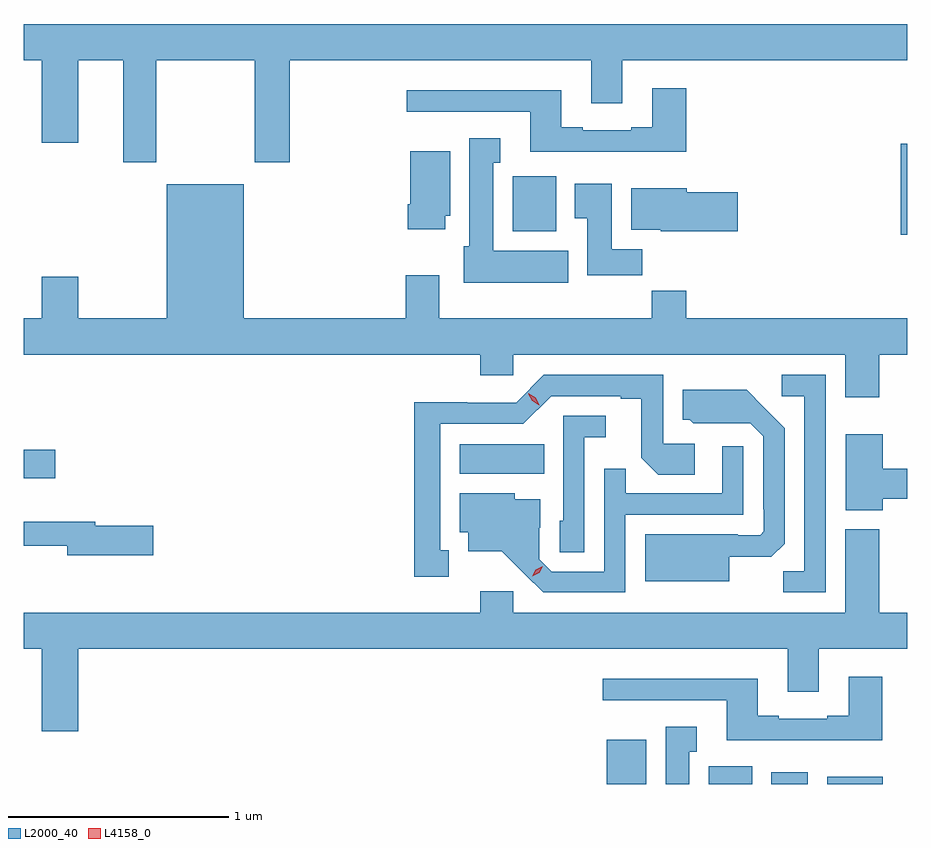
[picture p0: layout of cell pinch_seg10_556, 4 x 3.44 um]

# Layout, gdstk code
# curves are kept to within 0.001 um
import gdstk
lib = gdstk.Library(unit=1e-6, precision=1e-09)
def R(c, l, rs):  # rectangles x0, y0, x1, y1
    for r in rs: c.add(gdstk.rectangle(r[:2], r[2:], *l))
def P(c, l, *ps):  # polygons
    for p in ps: c.add(gdstk.Polygon(p, *l))
L2000_40 = (2000, 40)
L4158_0 = (4158, 0)

pinch_seg10_556 = lib.new_cell('pinch_seg10_556')
R(pinch_seg10_556, L2000_40, [(323.408,1281.056,323.587,1281.256), (323.87,1281.056,324.067,1281.136), (324.152,1281.056,324.319,1281.109), (324.407,1281.056,324.658,1281.088), (320.769,1282.439,320.911,1282.569), (322.742,1282.46,323.126,1282.594), (324.74,1283.543,324.769,1283.953), (322.983,1283.558,323.179,1283.808)])
P(pinch_seg10_556, L2000_40, [(321.369,1284.332),(321.814,1284.332),(321.814,1283.871),(321.974,1283.871),(321.974,1284.332),(323.339,1284.332),(323.339,1284.138),(323.479,1284.138),(323.479,1284.332),(324.769,1284.332),(324.769,1284.496),(320.769,1284.496),(320.769,1284.332),(320.852,1284.332),(320.852,1283.958),(321.016,1283.958),(321.016,1284.332),(321.221,1284.332),(321.221,1283.871),(321.369,1283.871)],
  [(323.768,1284.205),(323.615,1284.205),(323.615,1284.028),(323.519,1284.028),(323.519,1284.015),(323.299,1284.015),(323.299,1284.028),(323.203,1284.028),(323.203,1284.196),(322.503,1284.196),(322.503,1284.099),(323.063,1284.099),(323.063,1283.918),(323.768,1283.918)],
  [(323.233,1283.47),(322.894,1283.47),(322.894,1283.867),(322.927,1283.867),(322.927,1283.98),(322.787,1283.98),(322.787,1283.49),(322.76,1283.49),(322.76,1283.324),(323.233,1283.324)],
  [(322.678,1283.628),(322.699,1283.628),(322.699,1283.92),(322.52,1283.92),(322.52,1283.68),(322.508,1283.68),(322.508,1283.568),(322.678,1283.568)],
  [(323.57,1283.476),(323.431,1283.476),(323.431,1283.773),(323.264,1283.773),(323.264,1283.617),(323.321,1283.617),(323.321,1283.358),(323.57,1283.358)],
  [(324.641,1283),(324.769,1283),(324.769,1283.164),(323.768,1283.164),(323.768,1283.288),(323.611,1283.288),(323.611,1283.164),(322.651,1283.164),(322.651,1283.359),(322.499,1283.359),(322.499,1283.164),(321.766,1283.164),(321.766,1283.77),(321.416,1283.77),(321.416,1283.164),(321.016,1283.164),(321.016,1283.353),(320.852,1283.353),(320.852,1283.164),(320.769,1283.164),(320.769,1283),(322.835,1283),(322.835,1282.907),(322.986,1282.907),(322.986,1283),(324.488,1283),(324.488,1282.806),(324.641,1282.806)],
  [(324.001,1283.735),(323.77,1283.735),(323.77,1283.752),(323.519,1283.752),(323.519,1283.564),(323.652,1283.564),(323.652,1283.558),(324.001,1283.558)],
  [(324.399,1282.908),(324.201,1282.908),(324.201,1282.812),(324.303,1282.812),(324.303,1282.019),(324.208,1282.019),(324.208,1281.924),(324.399,1281.924)],
  [(322.693,1282.113),(322.654,1282.113),(322.654,1282.686),(323.031,1282.686),(323.157,1282.812),(323.471,1282.812),(323.471,1282.8),(323.565,1282.8),(323.565,1282.532),(323.641,1282.456),(323.806,1282.456),(323.806,1282.596),(323.664,1282.596),(323.664,1282.908),(323.124,1282.908),(322.998,1282.782),(322.776,1282.782),(322.776,1282.784),(322.536,1282.784),(322.536,1281.993),(322.693,1281.993)],
  [(323.962,1282.085),(324.154,1282.085),(324.213,1282.144),(324.213,1282.666),(324.041,1282.84),(323.753,1282.84),(323.753,1282.704),(323.784,1282.704),(323.8,1282.688),(324.057,1282.689),(324.117,1282.629),(324.117,1282.3),(324.12,1282.3),(324.12,1282.2),(324.102,1282.182),(324.002,1282.182),(324.002,1282.186),(323.582,1282.186),(323.582,1281.974),(323.962,1281.974)],
  [(323.307,1282.625),(323.404,1282.625),(323.404,1282.722),(323.211,1282.722),(323.211,1282.248),(323.196,1282.248),(323.196,1282.105),(323.307,1282.105)],
  [(324.658,1282.348),(324.769,1282.348),(324.769,1282.484),(324.658,1282.484),(324.658,1282.639),(324.491,1282.639),(324.491,1282.295),(324.658,1282.295)],
  [(323.493,1282.275),(324.027,1282.275),(324.027,1282.585),(323.931,1282.585),(323.931,1282.371),(323.495,1282.371),(323.495,1282.484),(323.397,1282.484),(323.397,1282.017),(323.16,1282.017),(323.103,1282.074),(323.103,1282.216),(323.107,1282.216),(323.107,1282.345),(322.992,1282.345),(322.992,1282.372),(322.742,1282.372),(322.742,1282.196),(322.781,1282.196),(322.781,1282.109),(322.933,1282.109),(323.12,1281.924),(323.493,1281.924)],
  [(321.355,1282.226),(321.094,1282.226),(321.094,1282.244),(320.769,1282.244),(320.769,1282.134),(320.966,1282.134),(320.966,1282.091),(321.355,1282.091)],
  [(321.016,1281.668),(324.227,1281.668),(324.227,1281.474),(324.367,1281.474),(324.367,1281.668),(324.769,1281.668),(324.769,1281.832),(324.641,1281.832),(324.641,1282.21),(324.488,1282.21),(324.488,1281.832),(322.986,1281.832),(322.986,1281.928),(322.835,1281.928),(322.835,1281.832),(320.769,1281.832),(320.769,1281.668),(320.852,1281.668),(320.852,1281.294),(321.016,1281.294)],
  [(324.656,1281.541),(324.503,1281.541),(324.503,1281.364),(324.407,1281.364),(324.407,1281.351),(324.187,1281.351),(324.187,1281.364),(324.091,1281.364),(324.091,1281.532),(323.391,1281.532),(323.391,1281.435),(323.951,1281.435),(323.951,1281.254),(324.656,1281.254)],
  [(323.782,1281.203),(323.815,1281.203),(323.815,1281.316),(323.675,1281.316),(323.675,1281.056),(323.782,1281.056)])
P(pinch_seg10_556, L4158_0, [(323.071,1281.996),(323.071,1281.996),(323.088,1282.026),(323.118,1282.042),(323.119,1282.042),(323.119,1282.042),(323.102,1282.012),(323.071,1281.996)],
  [(323.102,1282.771),(323.071,1282.79),(323.054,1282.823),(323.054,1282.824),(323.054,1282.824),(323.086,1282.804),(323.103,1282.771),(323.103,1282.771)])

lib.write_gds('pinch_seg10_556.gds')
